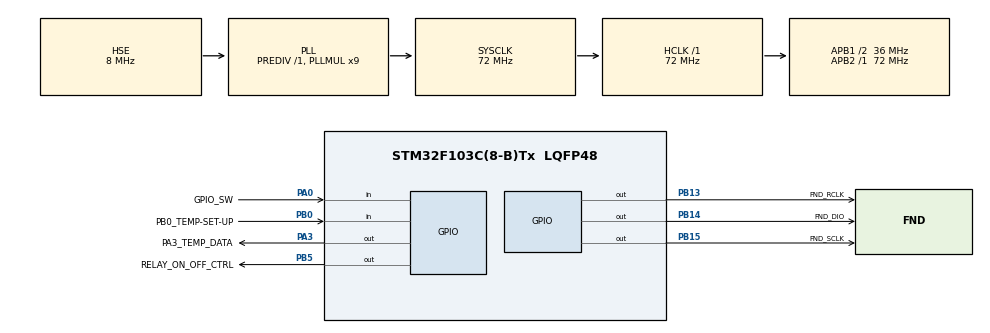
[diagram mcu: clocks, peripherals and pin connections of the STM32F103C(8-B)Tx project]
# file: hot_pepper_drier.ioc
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Mcu.Family=STM32F1
Mcu.Name=STM32F103C(8-B)Tx
Mcu.Package=LQFP48
NVIC.PriorityGroup=NVIC_PRIORITYGROUP_4
NVIC.TIM2_IRQn=true\:0\:0\:false\:false\:true\:true\:true\:true
PA0-WKUP.GPIO_Label=GPIO_SW
PA0-WKUP.GPIO_PuPd=GPIO_PULLUP
PA0-WKUP.Signal=GPIO_Input
PA13.Mode=Serial_Wire
PA13.Signal=SYS_JTMS-SWDIO
PA14.Mode=Serial_Wire
PA14.Signal=SYS_JTCK-SWCLK
PA3.GPIO_Label=PA3_TEMP_DATA
PA3.GPIO_ModeDefaultOutputPP=GPIO_MODE_OUTPUT_PP
PA3.GPIO_PuPd=GPIO_PULLUP
PA3.GPIO_Speed=GPIO_SPEED_FREQ_HIGH
PA3.PinState=GPIO_PIN_SET
PA3.Signal=GPIO_Output
PB0.GPIO_Label=PB0_TEMP-SET-UP
PB0.GPIO_PuPd=GPIO_PULLUP
PB0.Signal=GPIO_Input
PB13.GPIO_Label=FND_RCLK
PB13.GPIO_ModeDefaultOutputPP=GPIO_MODE_OUTPUT_PP
PB13.GPIO_PuPd=GPIO_PULLUP
PB13.GPIO_Speed=GPIO_SPEED_FREQ_HIGH
PB13.PinState=GPIO_PIN_SET
PB13.Signal=GPIO_Output
PB14.GPIO_Label=FND_DIO
PB14.GPIO_ModeDefaultOutputPP=GPIO_MODE_OUTPUT_PP
PB14.GPIO_PuPd=GPIO_PULLUP
PB14.GPIO_Speed=GPIO_SPEED_FREQ_HIGH
PB14.PinState=GPIO_PIN_SET
PB14.Signal=GPIO_Output
PB15.GPIO_Label=FND_SCLK
PB15.GPIO_ModeDefaultOutputPP=GPIO_MODE_OUTPUT_PP
PB15.GPIO_PuPd=GPIO_PULLUP
PB15.GPIO_Speed=GPIO_SPEED_FREQ_HIGH
PB15.PinState=GPIO_PIN_SET
PB15.Signal=GPIO_Output
PB5.GPIO_Label=RELAY_ON_OFF_CTRL
PB5.GPIO_ModeDefaultOutputPP=GPIO_MODE_OUTPUT_PP
PB5.GPIO_PuPd=GPIO_PULLDOWN
PB5.GPIO_Speed=GPIO_SPEED_FREQ_HIGH
PB5.PinState=GPIO_PIN_RESET
PB5.Signal=GPIO_Output
PC14-OSC32_IN.Mode=LSE-External-Oscillator
PC14-OSC32_IN.Signal=RCC_OSC32_IN
PC15-OSC32_OUT.Mode=LSE-External-Oscillator
PC15-OSC32_OUT.Signal=RCC_OSC32_OUT
PD0-OSC_IN.Mode=HSE-External-Oscillator
PD0-OSC_IN.Signal=RCC_OSC_IN
PD1-OSC_OUT.Mode=HSE-External-Oscillator
PD1-OSC_OUT.Signal=RCC_OSC_OUT
ProjectManager.HeapSize=0x200
ProjectManager.StackSize=0x400
ProjectManager.TargetToolchain=STM32CubeIDE
RCC.AHBFreq_Value=72000000
RCC.APB1CLKDivider=RCC_HCLK_DIV2
RCC.APB1Freq_Value=36000000
RCC.APB1TimFreq_Value=72000000
RCC.APB2Freq_Value=72000000
RCC.APB2TimFreq_Value=72000000
RCC.HCLKFreq_Value=72000000
RCC.PLLMUL=RCC_PLL_MUL9
RCC.PLLSourceVirtual=RCC_PLLSOURCE_HSE
RCC.SYSCLKFreq_VALUE=72000000
RCC.SYSCLKSource=RCC_SYSCLKSOURCE_PLLCLK
RCC.USBFreq_Value=72000000
TIM2.AutoReloadPreload=TIM_AUTORELOAD_PRELOAD_DISABLE
TIM2.Period=0xFFFF
TIM2.Prescaler=(72 - 1)
VP_TIM2_VS_ClockSourceINT.Mode=Internal
board=custom

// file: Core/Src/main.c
/* USER CODE BEGIN Header */
/**
  ******************************************************************************
  * @file           : main.c
  * @brief          : Main program body
  ******************************************************************************
  * @attention
  *
  * Copyright (c) 2025 STMicroelectronics.
  * All rights reserved.
  *
  * This software is licensed under terms that can be found in the LICENSE file
  * in the root directory of this software component.
  * If no LICENSE file comes with this software, it is provided AS-IS.
  *
  ******************************************************************************
  */
/* USER CODE END Header */
#include "main.h"

/* USER CODE BEGIN Includes */
#include <stdio.h>
#include "fnd_controller.h"
#include "ds18b20.h"
#include "heaterController.h"

/* USER CODE END Includes */

TIM_HandleTypeDef htim2;

void SystemClock_Config(void);
static void MX_GPIO_Init(void);
static void MX_TIM2_Init(void);

/* USER CODE BEGIN 0 */
//int _write(int file, char * p, int len){
//	HAL_UART_Transmit(&huart1, (uint8_t*)p, len, 10);
//	return len;
//}

//typedef struct test{
//	int a;
//	int b;
//	int c;
//}test;
//
//test te = {0, 1, 2};
/* USER CODE END 0 */

int main(void)
{

  /* MCU Configuration--------------------------------------------------------*/

  /* Reset of all peripherals, Initializes the Flash interface and the Systick. */
  HAL_Init();

  /* Configure the system clock */
  SystemClock_Config();

  /* Initialize all configured peripherals */
  MX_GPIO_Init();
  MX_TIM2_Init();
  /* USER CODE BEGIN 2 */
  HAL_TIM_Base_Start_IT(&htim2);
  init_fnd();
  Ds18b20_Init();

  /* USER CODE END 2 */

  /* Infinite loop */
  /* USER CODE BEGIN WHILE */
  uint32_t last_tick = 0;
  float current_temp = 0.0f;

  while (1)
  {
	  if(HAL_GetTick() - last_tick > 1000)
	  {
		  Ds18b20_ManualConvert();
		  current_temp = getCurrentTemper();
		  last_tick = HAL_GetTick();

		  if((int)(current_temp * 10) >= 500 && getHeaterState() == true)
		  {
			  heaterController(t_OFF);
		  }

		  if((int)(current_temp * 10) < 500 && getHeaterState() == false)
		  {
			  heaterController(t_ON);
		  }
	  }
	  digit4_temper(current_temp*10, 20000, 0);
    /* USER CODE END WHILE */

  }
}

void SystemClock_Config(void)
{
  RCC_OscInitTypeDef RCC_OscInitStruct = {0};
  RCC_ClkInitTypeDef RCC_ClkInitStruct = {0};

  /** Initializes the RCC Oscillators according to the specified parameters
  * in the RCC_OscInitTypeDef structure.
  */
  RCC_OscInitStruct.OscillatorType = RCC_OSCILLATORTYPE_HSE;
  RCC_OscInitStruct.HSEState = RCC_HSE_ON;
  RCC_OscInitStruct.HSEPredivValue = RCC_HSE_PREDIV_DIV1;
  RCC_OscInitStruct.HSIState = RCC_HSI_ON;
  RCC_OscInitStruct.PLL.PLLState = RCC_PLL_ON;
  RCC_OscInitStruct.PLL.PLLSource = RCC_PLLSOURCE_HSE;
  RCC_OscInitStruct.PLL.PLLMUL = RCC_PLL_MUL9;
  if (HAL_RCC_OscConfig(&RCC_OscInitStruct) != HAL_OK)
  {
    Error_Handler();
  }

  /** Initializes the CPU, AHB and APB buses clocks
  */
  RCC_ClkInitStruct.ClockType = RCC_CLOCKTYPE_HCLK|RCC_CLOCKTYPE_SYSCLK
                              |RCC_CLOCKTYPE_PCLK1|RCC_CLOCKTYPE_PCLK2;
  RCC_ClkInitStruct.SYSCLKSource = RCC_SYSCLKSOURCE_PLLCLK;
  RCC_ClkInitStruct.AHBCLKDivider = RCC_SYSCLK_DIV1;
  RCC_ClkInitStruct.APB1CLKDivider = RCC_HCLK_DIV2;
  RCC_ClkInitStruct.APB2CLKDivider = RCC_HCLK_DIV1;

  if (HAL_RCC_ClockConfig(&RCC_ClkInitStruct, FLASH_LATENCY_2) != HAL_OK)
  {
    Error_Handler();
  }
}

static void MX_TIM2_Init(void)
{

  TIM_ClockConfigTypeDef sClockSourceConfig = {0};
  TIM_MasterConfigTypeDef sMasterConfig = {0};

  htim2.Instance = TIM2;
  htim2.Init.Prescaler = (72 - 1);
  htim2.Init.CounterMode = TIM_COUNTERMODE_UP;
  htim2.Init.Period = 0xFFFF;
  htim2.Init.ClockDivision = TIM_CLOCKDIVISION_DIV1;
  htim2.Init.AutoReloadPreload = TIM_AUTORELOAD_PRELOAD_DISABLE;
  if (HAL_TIM_Base_Init(&htim2) != HAL_OK)
  {
    Error_Handler();
  }
  sClockSourceConfig.ClockSource = TIM_CLOCKSOURCE_INTERNAL;
  if (HAL_TIM_ConfigClockSource(&htim2, &sClockSourceConfig) != HAL_OK)
  {
    Error_Handler();
  }
  sMasterConfig.MasterOutputTrigger = TIM_TRGO_RESET;
  sMasterConfig.MasterSlaveMode = TIM_MASTERSLAVEMODE_DISABLE;
  if (HAL_TIMEx_MasterConfigSynchronization(&htim2, &sMasterConfig) != HAL_OK)
  {
    Error_Handler();
  }

}

static void MX_GPIO_Init(void)
{
  GPIO_InitTypeDef GPIO_InitStruct = {0};

  /* GPIO Ports Clock Enable */
  __HAL_RCC_GPIOC_CLK_ENABLE();
  __HAL_RCC_GPIOD_CLK_ENABLE();
  __HAL_RCC_GPIOA_CLK_ENABLE();
  __HAL_RCC_GPIOB_CLK_ENABLE();

  /*Configure GPIO pin Output Level */
  HAL_GPIO_WritePin(PA3_TEMP_DATA_GPIO_Port, PA3_TEMP_DATA_Pin, GPIO_PIN_SET);

  /*Configure GPIO pin Output Level */
  HAL_GPIO_WritePin(GPIOB, FND_RCLK_Pin|FND_DIO_Pin|FND_SCLK_Pin, GPIO_PIN_SET);

  /*Configure GPIO pin Output Level */
  HAL_GPIO_WritePin(RELAY_ON_OFF_CTRL_GPIO_Port, RELAY_ON_OFF_CTRL_Pin, GPIO_PIN_RESET);

  /*Configure GPIO pin : GPIO_SW_Pin */
  GPIO_InitStruct.Pin = GPIO_SW_Pin;
  GPIO_InitStruct.Mode = GPIO_MODE_INPUT;
  GPIO_InitStruct.Pull = GPIO_PULLUP;
  HAL_GPIO_Init(GPIO_SW_GPIO_Port, &GPIO_InitStruct);

  /*Configure GPIO pin : PA3_TEMP_DATA_Pin */
  GPIO_InitStruct.Pin = PA3_TEMP_DATA_Pin;
  GPIO_InitStruct.Mode = GPIO_MODE_OUTPUT_PP;
  GPIO_InitStruct.Pull = GPIO_PULLUP;
  GPIO_InitStruct.Speed = GPIO_SPEED_FREQ_HIGH;
  HAL_GPIO_Init(PA3_TEMP_DATA_GPIO_Port, &GPIO_InitStruct);

  /*Configure GPIO pin : PB0_TEMP_SET_UP_Pin */
  GPIO_InitStruct.Pin = PB0_TEMP_SET_UP_Pin;
  GPIO_InitStruct.Mode = GPIO_MODE_INPUT;
  GPIO_InitStruct.Pull = GPIO_PULLUP;
  HAL_GPIO_Init(PB0_TEMP_SET_UP_GPIO_Port, &GPIO_InitStruct);

  /*Configure GPIO pins : FND_RCLK_Pin FND_DIO_Pin FND_SCLK_Pin */
  GPIO_InitStruct.Pin = FND_RCLK_Pin|FND_DIO_Pin|FND_SCLK_Pin;
  GPIO_InitStruct.Mode = GPIO_MODE_OUTPUT_PP;
  GPIO_InitStruct.Pull = GPIO_PULLUP;
  GPIO_InitStruct.Speed = GPIO_SPEED_FREQ_HIGH;
  HAL_GPIO_Init(GPIOB, &GPIO_InitStruct);

  /*Configure GPIO pin : RELAY_ON_OFF_CTRL_Pin */
  GPIO_InitStruct.Pin = RELAY_ON_OFF_CTRL_Pin;
  GPIO_InitStruct.Mode = GPIO_MODE_OUTPUT_PP;
  GPIO_InitStruct.Pull = GPIO_PULLDOWN;
  GPIO_InitStruct.Speed = GPIO_SPEED_FREQ_HIGH;
  HAL_GPIO_Init(RELAY_ON_OFF_CTRL_GPIO_Port, &GPIO_InitStruct);

}

void Error_Handler(void)
{
  __disable_irq();
  while (1)
  {
  }
}
